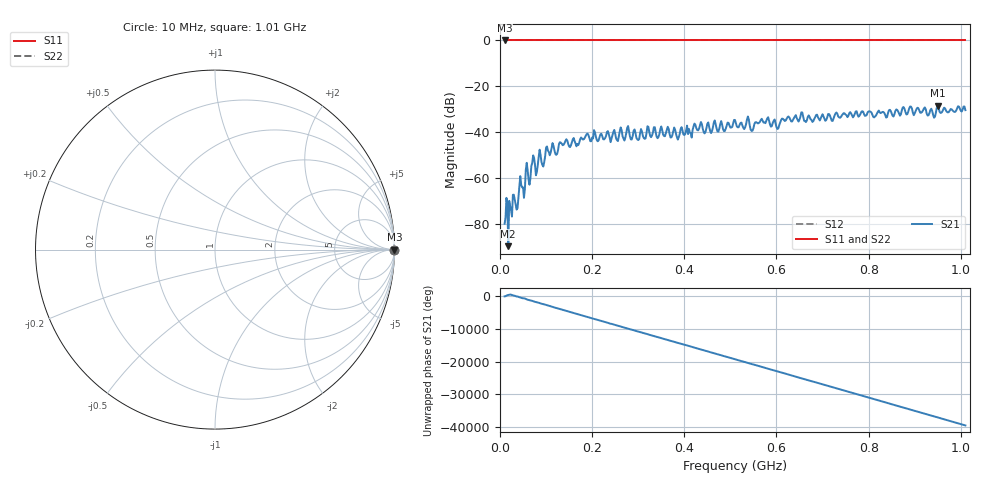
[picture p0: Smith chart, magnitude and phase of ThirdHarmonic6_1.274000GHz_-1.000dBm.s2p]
! 8/16/2025 1:48:42 PM
! C:\ANRITSUVNA\TEMP\TEMP.S2P
! CHANNEL.1
! TR.MEASUREMENT
! RAW.DATA
! RF.CORRECTION.OFF
! AVERAGING.OFF
! IF.BANDWIDTH: 5KHZ
! SWEEPTYPE:  FREQ.SWEEP(Linear)
! Reference Plane Port Info
! PORT:  PORT1  PORT2
! DISTANCE:  0  m  0  m
! TIME:  0  s  0  s
! PHASE.OFFSET:  0  deg.  0  deg.
! LOSS:  0  dB  0  dB
! REF.LOSS:  0  dB  0  dB
! REF.FREQ:  0  Hz  0  Hz
! Power Info
! POWER:  -20  dBm  -20  dBm
! EFF.POWER:  -20  dBm  -20  dBm
! SOURCE.ATTEN:  0  dB  0  dB
! TEST.ATTEN:  0  dB  0  dB
# GHZ S RI R 50.0
! FREQ.GHZ  S11RE  S11IM  S21RE  S21IM  S12RE  S12IM  S22RE  S22IM
!; PortSelection: Port_12
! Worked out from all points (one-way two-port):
!   501 points, 10 MHz to 1.01 GHz, reference 50 ohm
!   highest |S21| = -28.42 dB at 950 MHz (marker M1); lowest = -89.9 dB at 18 MHz (marker M2)
!   lowest |S11| = 0.0 dB at 10 MHz (marker M3)
!   |S11| at or under -10 dB: nowhere
!   |S22| runs from 0.0 to 0.0 dB; largest |S21 - S12| = 1
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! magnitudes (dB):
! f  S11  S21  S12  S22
! 10 MHz  0.0  -80.1  0.0  0.0
! 18 MHz  0.0  -89.9  0.0  0.0
! 36 MHz  0.0  -73.9  0.0  0.0
! 44 MHz  0.0  -59.3  0.0  0.0
! 50 MHz  0.0  -64.2  0.0  0.0
! 72 MHz  0.0  -50.2  0.0  0.0
! 80 MHz  0.0  -57.5  0.0  0.0
! 86 MHz  0.0  -47.7  0.0  0.0
! 94 MHz  0.0  -55.1  0.0  0.0
! 102 MHz  0.0  -46.3  0.0  0.0
! 178 MHz  0.0  -42.9  0.0  0.0
! 344 MHz  0.0  -42.1  0.0  0.0
! 510 MHz  0.0  -34.7  0.0  0.0
! 538 MHz  0.0  -33.2  0.0  0.0
! 546 MHz  0.0  -39.5  0.0  0.0
! 566 MHz  0.0  -34.7  0.0  0.0
! 602 MHz  0.0  -38.7  0.0  0.0
! 654 MHz  0.0  -31.4  0.0  0.0
! 678 MHz  0.0  -35.6  0.0  0.0
! 844 MHz  0.0  -30.5  0.0  0.0
! 950 MHz  0.0  -28.4  0.0  0.0
! 1.01 GHz  0.0  -30.4  0.0  0.0
